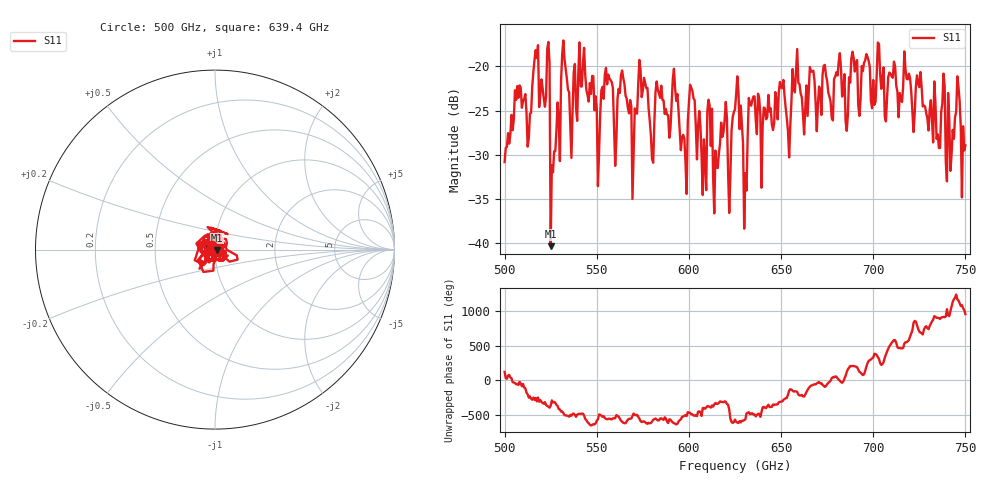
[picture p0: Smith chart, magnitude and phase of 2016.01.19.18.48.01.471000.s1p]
!Created with skrf (http://scikit-rf.org).
# GHz S RI R 50.0
!freq ReS11 ImS11
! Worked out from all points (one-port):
!   401 points, 500 GHz to 750 GHz, reference 50 ohm
!   lowest |S11| = -40.4 dB at 525 GHz (marker M1), VSWR 1.02, Z = 50.9 - j0.189 ohm
!   |S11| at or under -10 dB: start of sweep to end of sweep
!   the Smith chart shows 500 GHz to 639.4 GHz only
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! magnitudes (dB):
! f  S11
! 500 GHz  -30.8
! 506.9 GHz  -22.2
! 513.1 GHz  -28.1
! 516.9 GHz  -18.1
! 523.1 GHz  -18.0
! 525 GHz  -40.4
! 526.2 GHz  -32.0
! 531.2 GHz  -18.6
! 541.9 GHz  -22.3
! 550.6 GHz  -33.6
! 562.5 GHz  -23.0
! 570.6 GHz  -24.8
! 574.4 GHz  -23.5
! 580 GHz  -30.5
! 593.8 GHz  -23.1
! 597.5 GHz  -28.1
! 601.9 GHz  -22.8
! 608.1 GHz  -28.3
! 611.2 GHz  -24.4
! 614.4 GHz  -29.5
! 622.5 GHz  -32.3
! 625 GHz  -24.9
! 630.6 GHz  -32.1
! 633.8 GHz  -24.4
! 656.2 GHz  -20.3
! 687.5 GHz  -21.8
! 718.8 GHz  -21.5
! 750 GHz  -28.9
